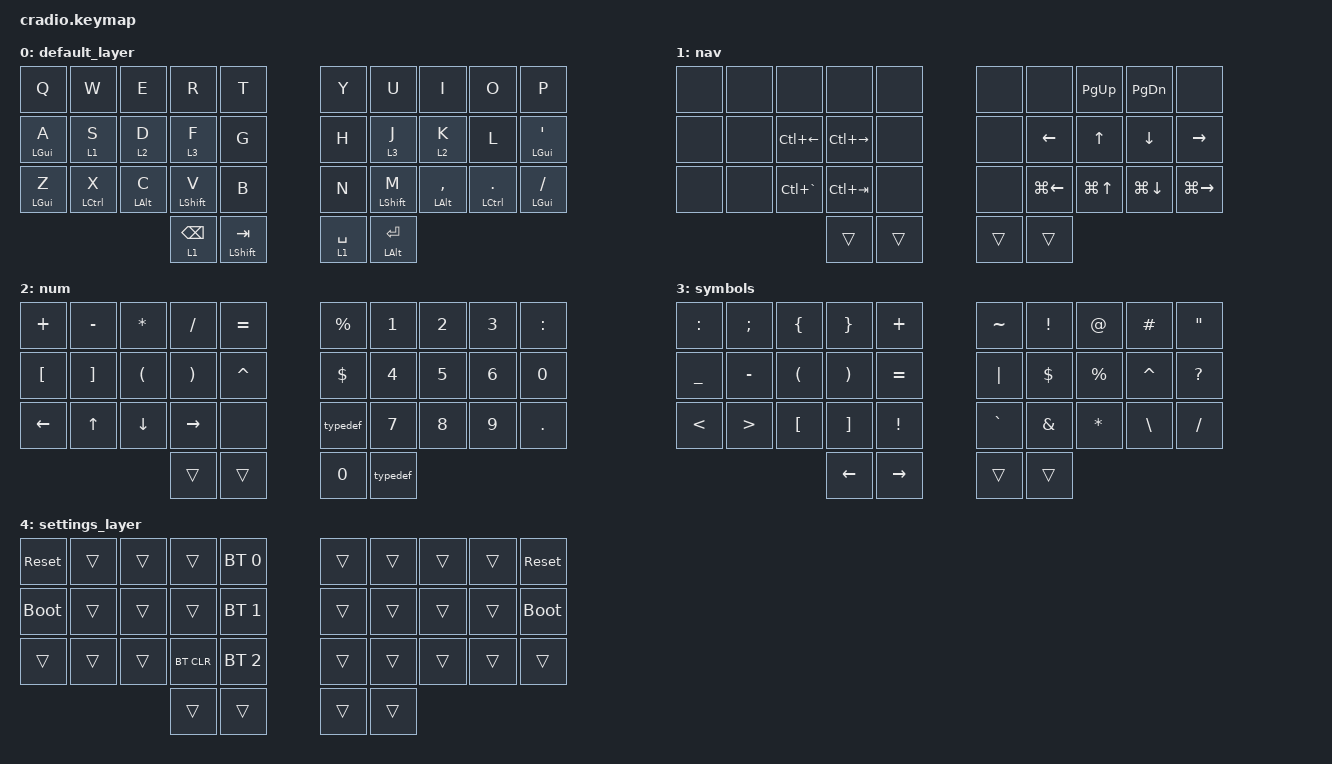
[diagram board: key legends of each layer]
/*
 * Copyright (c) 2020 The ZMK Contributors
 *
 * SPDX-License-Identifier: MIT
 */

#include "keymap_italian.h"
#include <behaviors.dtsi>
#include <dt-bindings/zmk/bt.h>
#include <dt-bindings/zmk/keys.h>

#define LAYER_BASE 0
#define LAYER_NAV  1
#define LAYER_NUM  2
#define LAYER_SYM  3
#define LAYER_SET  4

// Key definitions

#define POS_LH_T1 30
#define POS_LH_T2 31
#define POS_LH_C1R1 4
#define POS_LH_C1R2 14
#define POS_LH_C1R3 24
#define POS_LH_C2R1 3
#define POS_LH_C2R2 13
#define POS_LH_C2R3 23
#define POS_LH_C3R1 2
#define POS_LH_C3R2 12
#define POS_LH_C3R3 22
#define POS_LH_C4R1 1
#define POS_LH_C4R2 11
#define POS_LH_C4R3 21
#define POS_LH_C5R1 0
#define POS_LH_C5R2 10
#define POS_LH_C5R3 20
#define POS_RH_T1 32
#define POS_RH_T2 33
#define POS_RH_C1R1 5
#define POS_RH_C1R2 15
#define POS_RH_C1R3 25
#define POS_RH_C2R1 6
#define POS_RH_C2R2 16
#define POS_RH_C2R3 26
#define POS_RH_C3R1 7
#define POS_RH_C3R2 17
#define POS_RH_C3R3 27
#define POS_RH_C4R1 8
#define POS_RH_C4R2 18
#define POS_RH_C4R3 28
#define POS_RH_C5R1 9
#define POS_RH_C5R2 19
#define POS_RH_C5R3 29
#define KEYS_LEFT POS_LH_C1R1 4  POS_LH_C1R2 14  POS_LH_C1R3 24  POS_LH_C2R1 3  POS_LH_C2R2 13  POS_LH_C2R3 23  POS_LH_C3R1 2  POS_LH_C3R2 12  POS_LH_C3R3 22  POS_LH_C4R1 1  POS_LH_C4R2 11  POS_LH_C4R3 21  POS_LH_C5R1 0  POS_LH_C5R2 10  POS_LH_C5R3 20
#define KEYS_RIGHT POS_RH_C1R1 4  POS_RH_C1R2 14  POS_RH_C1R3 24  POS_RH_C2R1 3  POS_RH_C2R2 13  POS_RH_C2R3 23  POS_RH_C3R1 2  POS_RH_C3R2 12  POS_RH_C3R3 22  POS_RH_C4R1 1  POS_RH_C4R2 11  POS_RH_C4R3 21  POS_RH_C5R1 0  POS_RH_C5R2 10  POS_RH_C5R3 20
#define THUMBS POS_LH_T1 POS_LH_T2 POS_RH_T1 POS_RH_T2

// -----------------

&mt {
    //  flavor = "tap-preferred";
    // tapping_term_ms = <200>;
};

&sk { ignore-modifiers; };

/ {
    behaviors {
        // For the "layer" key, it'd nice to be able to use it as either a shift or a toggle.
        // Configure it as a tap dance, so the first tap (or hold) is a &mo and the second tap is a &to

        rpi: require_prior_idle {
            compatible = "zmk,behavior-hold-tap";
            label = "REQUIRE_PRIOR_IDLE";
            #binding-cells = <2>;
            flavor = "tap-preferred";
            tapping-term-ms = <175>;
            quick-tap-ms = <150>;
            require-prior-idle-ms = <125>;
            bindings = <&kp>, <&kp>;
        };

        hml: hold_tap_left {
            compatible = "zmk,behavior-hold-tap";
            label = "HRM_HOLD_TAP_LEFT";
            flavor = "tap-preferred";
            tapping-term-ms = <280>;
            quick-tap-ms = <175>;
            require-prior-idle-ms = <150>;
            #binding-cells = <2>;
            bindings = <&kp>, <&kp>;

            hold-trigger-key-positions = <KEYS_RIGHT THUMBS>;
            hold-trigger-on-release;
        };

        hmr: hold_tap_right {
            compatible = "zmk,behavior-hold-tap";
            label = "HRM_HOLD_TAP_RIGHT";
            flavor = "tap-preferred";
            tapping-term-ms = <280>;
            quick-tap-ms = <175>;
            require-prior-idle-ms = <150>;
            #binding-cells = <2>;
            bindings = <&kp>, <&kp>;

            hold-trigger-key-positions = <KEYS_LEFT THUMBS>;
            hold-trigger-on-release;
        };

        qt: quick_tap {
            compatible = "zmk,behavior-hold-tap";
            label = "QUICK_TAP";
            flavor = "balanced";
            tapping-term-ms = <200>;
            quick-tap-ms = <175>;
            require-prior-idle-ms = <150>;
            #binding-cells = <2>;
            bindings = <&kp>, <&kp>;

            hold-trigger-on-release;
        };

        ht: hold_tap {
            compatible = "zmk,behavior-hold-tap";
            label = "HOLD_TAP";
            bindings = <&kp>, <&kp>;

            #binding-cells = <2>;
            tapping-term-ms = <300>;
            quick-tap-ms = <150>;
            flavor = "tap-preferred";
        };

        hold_temp_layer: hold_temp_layer {
            compatible = "zmk,behavior-hold-tap";
            label = "HOLD_TEMP_LAYER";
            bindings = <&mo>, <&tog>;

            #binding-cells = <2>;
            tapping-term-ms = <220>;
            quick-tap-ms = <150>;
        };

        ht_pref_hold: ht_pref_hold {
            compatible = "zmk,behavior-hold-tap";
            label = "HT_PREF_HOLD";
            bindings = <&kp>, <&kp>;

            #binding-cells = <2>;
            tapping-term-ms = <300>;
            quick-tap-ms = <150>;
            flavor = "hold-preferred";
            retro-tap;
        };

        sticky_tap: sticky_tap {
            compatible = "zmk,behavior-hold-tap";
            label = "STICKY_TAP";
            bindings = <&mo>, <&sk>;

            #binding-cells = <2>;
            tapping-term-ms = <300>;
            flavor = "tap-preferred";
        };
    };
};

/ {
    combos {
        compatible = "zmk,combos";

        escape-combo {
            bindings = <&kp ESC>;
            key-positions = <13 11>;
        };

        backspace {
            bindings = <&kp BACKSPACE>;
            key-positions = <11 12>;
        };

        enter-right {
            bindings = <&kp ENTER>;
            key-positions = <17 18>;
        };

        tab {
            bindings = <&kp TAB>;
            key-positions = <26 27>;
        };

        delete {
            bindings = <&kp DEL>;
            key-positions = <13 12>;
        };

        capsword {
            bindings = <&caps_word>;
            key-positions = <16 18>;
        };

        space-left {
            bindings = <&kp LC(LEFT)>;
            key-positions = <11 2>;
            require-prior-idle-ms = <400>;
        };

        space-right {
            bindings = <&kp LC(RIGHT)>;
            key-positions = <13 2>;
            require-prior-idle-ms = <400>;
        };

        tab-prev {
            bindings = <&kp LC(GRAVE)>;
            key-positions = <21 12>;
        };

        tab-next {
            bindings = <&kp LC(TAB)>;
            key-positions = <23 12>;
        };

        volume-up {
            bindings = <&kp C_VOLUME_UP>;
            key-positions = <5 6>;
        };

        volume-down {
            bindings = <&kp C_VOL_DN>;
            key-positions = <25 26>;
        };

        play-pause {
            bindings = <&kp C_PLAY_PAUSE>;
            key-positions = <15 16>;
        };

        settings-layer {
            bindings = <&sl 4>;
            key-positions = <30 33>;
        };

        cut {
            bindings = <&kp LG(X)>;
            key-positions = <21 23>;
        };

        copy {
            bindings = <&kp LG(C)>;
            key-positions = <21 22>;
        };

        paste {
            bindings = <&kp LG(V)>;
            key-positions = <23 22>;
        };

        hyphen {
            bindings = <&kp MINUS>;
            key-positions = <16 17>;
        };

        homerow-open {
            bindings = <&kp LG(LS(SPACE))>;
            key-positions = <13 16>;
        };

        find-app {
            bindings = <&kp LC(SPACE)>;
            key-positions = <12 17>;
        };

        screenshot {
            bindings = <&kp LS(LG(NUMBER_4))>;
            key-positions = <0 3>;
        };
    };

    macros {
        typedef: typedef {
            compatible = "zmk,behavior-macro";
            #binding-cells = <0>;
            bindings = <&none &kp UNDER &kp T>;
            label = "TYPEDEF";
        };

        uint: uint {
            compatible = "zmk,behavior-macro";
            #binding-cells = <0>;
            bindings = <&none &kp U &kp I &kp N &kp T>;
            label = "UINT";
        };

        int: int {
            compatible = "zmk,behavior-macro";
            #binding-cells = <0>;
            bindings = <&none &kp I &kp N &kp T>;
            label = "INT";
        };
    };

    keymap {
        compatible = "zmk,keymap";

        // Base alpha layer

        default_layer {
            bindings = <
&kp Q            &kp W                &kp E            &kp R              &kp T                           &kp Y        &kp U               &kp I                &kp O                  &kp P
&hml LEFT_GUI A  &lt 1 S              &lt 2 D          &lt 3 F            &kp G                           &kp H        &lt 3 J             &lt 2 K              &kp L                  &hmr LEFT_GUI SQT
&hml LEFT_GUI Z  &hml LEFT_CONTROL X  &hml LEFT_ALT C  &hml LEFT_SHIFT V  &kp B                           &kp N        &hmr LEFT_SHIFT M   &hmr LEFT_ALT COMMA  &hmr LEFT_CONTROL DOT  &hmr LEFT_GUI SLASH
                                                       &lt 1 BACKSPACE    &ht_pref_hold LEFT_SHIFT TAB    &lt 1 SPACE  &ht LEFT_ALT ENTER
            >;
        };

        nav {
            bindings = <
&none  &none  &none          &none          &none     &none   &none         &kp PG_UP         &kp PG_DN     &none
&none  &none  &kp LC(LEFT)   &kp LC(RIGHT)  &none     &none   &kp LEFT      &kp UP_ARROW      &kp DOWN      &kp RIGHT
&none  &none  &kp LC(GRAVE)  &kp LC(TAB)    &none     &none   &kp LG(LEFT)  &kp LG(UP_ARROW)  &kp LG(DOWN)  &kp LG(RIGHT)
                             &trans         &trans    &trans  &trans
            >;
        };

        num {
            bindings = <
&kp PLUS          &kp MINUS          &kp ASTERISK          &kp SLASH              &kp EQUAL    &kp PERCENT  &kp N1    &kp N2  &kp N3  &kp COLON
&kp LEFT_BRACKET  &kp RIGHT_BRACKET  &kp LEFT_PARENTHESIS  &kp RIGHT_PARENTHESIS  &kp CARET    &kp DOLLAR   &kp N4    &kp N5  &kp N6  &kp N0
&kp LEFT          &kp UP             &kp DOWN              &kp RIGHT              &none        &typedef     &kp N7    &kp N8  &kp N9  &kp DOT
                                                           &trans                 &trans       &kp N0       &typedef
            >;
        };

        symbols {
            bindings = <
&kp COLON      &kp SEMICOLON     &kp LEFT_BRACE        &kp RIGHT_BRACE        &kp PLUS           &kp TILDE  &kp EXCLAMATION  &kp AT_SIGN   &kp HASH       &kp DOUBLE_QUOTES
&kp UNDER      &kp MINUS         &kp LEFT_PARENTHESIS  &kp RIGHT_PARENTHESIS  &kp EQUAL          &kp PIPE   &kp DOLLAR       &kp PERCENT   &kp CARET      &kp QUESTION
&kp LESS_THAN  &kp GREATER_THAN  &kp LEFT_BRACKET      &kp RIGHT_BRACKET      &kp EXCLAMATION    &kp GRAVE  &kp AMPERSAND    &kp ASTERISK  &kp BACKSLASH  &kp SLASH
                                                       &kp LEFT               &kp RIGHT          &trans     &trans
            >;
        };

        settings_layer {
            bindings = <
&sys_reset   &trans  &trans  &trans      &bt BT_SEL 0    &trans  &trans  &trans  &trans  &sys_reset
&bootloader  &trans  &trans  &trans      &bt BT_SEL 1    &trans  &trans  &trans  &trans  &bootloader
&trans       &trans  &trans  &bt BT_CLR  &bt BT_SEL 2    &trans  &trans  &trans  &trans  &trans
                             &trans      &trans          &trans  &trans
            >;
        };
    };
};
